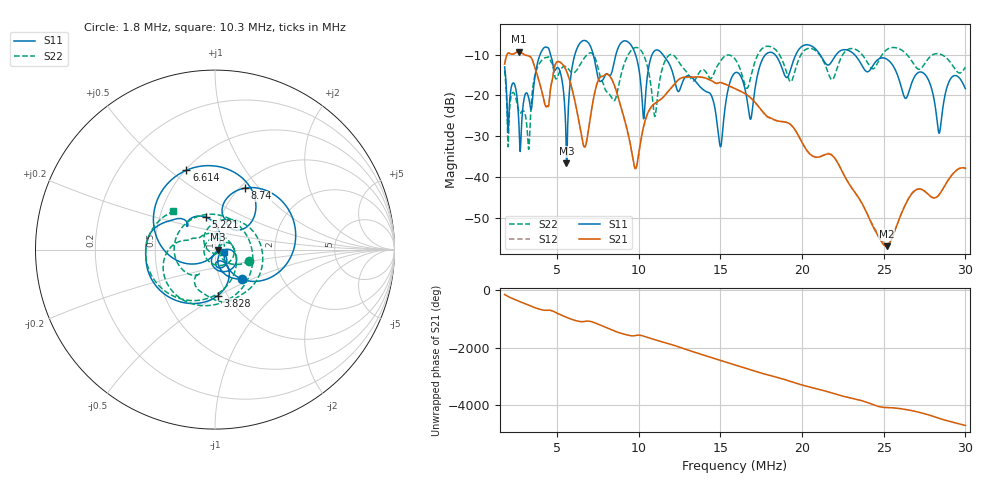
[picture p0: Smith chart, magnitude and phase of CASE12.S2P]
!Agilent Technologies,E5061B,MY49101568,A.02.00
!Date: Wed Mar 01 14:33:44 2023
!Data & Calibration Information:
!Freq	S11:SOLT2(OFF)	S21:SOLT2(OFF)	S12:SOLT2(OFF)	S22:SOLT2(OFF)
# Hz S dB R 50
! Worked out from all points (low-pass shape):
!   1155 points, 1.8 MHz to 30 MHz, reference 50 ohm
!   highest |S21| = -9.24 dB at 2.655 MHz (marker M1); lowest = -56.9 dB at 25.19 MHz (marker M2)
!   |S21| within 3 dB of the highest: 1.804 MHz to 3.58 MHz (1.776 MHz wide, 66 % of centre); 4.923 MHz to 5.312 MHz (389 kHz wide, 7.6 % of centre)
!   lowest |S11| = -36.7 dB at 5.588 MHz (marker M3), VSWR 1.03, Z = 51.5 + j0.0477 ohm
!   |S11| at or under -10 dB: start of sweep to 3.971 MHz; 11.49 MHz to 17.77 MHz (6.281 MHz wide, 42.9 % of centre); 23.22 MHz to end of sweep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
!   |S22| runs from -33.2 to -7.9 dB; largest |S21 - S12| = 0.0042
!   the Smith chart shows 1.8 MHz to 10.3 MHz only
!   S11 on the Smith chart (normalised r, x): 1.8 MHz: 1.28, -0.44; 3.828 MHz: 0.90, -0.50; 5.221 MHz: 0.85, +0.32; 6.614 MHz: 0.51, +0.57; 8.74 MHz: 1.05, +0.84; 10.3 MHz: 1.11, -0.03
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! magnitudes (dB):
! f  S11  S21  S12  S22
! 1.8 MHz  -13.0  -12.3  -12.3  -13.9
! 2.655 MHz  -25.4  -9.2  -9.2  -23.7
! 3.266 MHz  -20.5  -10.3  -10.3  -33.2
! 3.828 MHz  -11.8  -15.4  -15.5  -12.9
! 5.221 MHz  -14.5  -11.9  -11.8  -13.7
! 5.588 MHz  -36.7  -14.0  -14.0  -13.0
! 6.516 MHz  -6.8  -30.1  -30.2  -11.8
! 6.614 MHz  -6.6  -32.0  -32.1  -11.2
! 7.616 MHz  -16.5  -15.7  -15.7  -14.9
! 8.74 MHz  -8.4  -20.3  -20.3  -18.3
! 9.791 MHz  -9.7  -37.9  -37.9  -8.3
! 10.3 MHz  -25.7  -27.6  -28.0  -10.0
! 11.21 MHz  -8.9  -21.4  -21.4  -18.6
! 15 MHz  -32.5  -16.8  -16.9  -11.7
! 15.9 MHz  -14.5  -18.3  -18.4  -11.1
! 16.85 MHz  -25.9  -20.6  -20.6  -15.7
! 17.76 MHz  -10.0  -24.7  -24.9  -8.0
! 20.62 MHz  -8.0  -34.8  -34.8  -8.6
! 25.19 MHz  -11.1  -56.9  -56.6  -8.8
! 25.31 MHz  -11.5  -56.5  -56.3  -8.5
! 28.39 MHz  -29.3  -44.3  -44.3  -9.8
! 30 MHz  -18.4  -37.9  -37.8  -13.1
